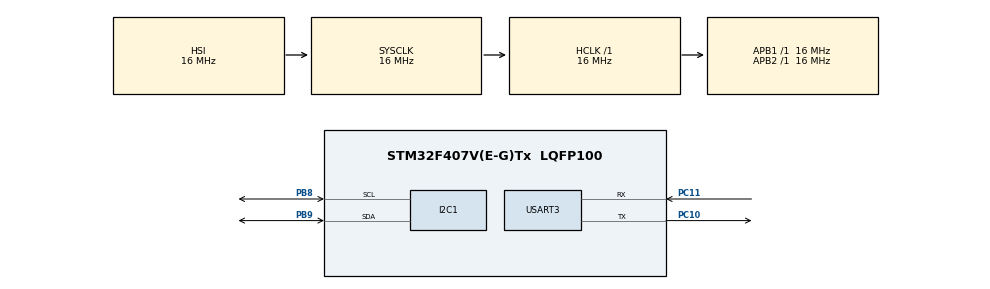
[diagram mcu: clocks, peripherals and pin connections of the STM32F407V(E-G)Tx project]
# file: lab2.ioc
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Mcu.Family=STM32F4
Mcu.Name=STM32F407V(E-G)Tx
Mcu.Package=LQFP100
NVIC.PriorityGroup=NVIC_PRIORITYGROUP_4
PB8.Mode=I2C
PB8.Signal=I2C1_SCL
PB9.Mode=I2C
PB9.Signal=I2C1_SDA
PC10.Mode=Asynchronous
PC10.Signal=USART3_TX
PC11.Mode=Asynchronous
PC11.Signal=USART3_RX
ProjectManager.HeapSize=0x200
ProjectManager.StackSize=0x400
ProjectManager.TargetToolchain=STM32CubeIDE
RCC.AHBFreq_Value=16000000
RCC.APB1Freq_Value=16000000
RCC.APB2Freq_Value=16000000
RCC.CortexFreq_Value=16000000
RCC.HSE_VALUE=25000000
RCC.HSI_VALUE=16000000
RCC.LSE_VALUE=32768
RCC.SYSCLKFreq_VALUE=16000000
RCC.VCOOutputFreq_Value=192000000
USART3.VirtualMode=VM_ASYNC
board=custom

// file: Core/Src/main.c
/* USER CODE BEGIN Header */
/**
  ******************************************************************************
  * @file           : main.c
  * @brief          : Main program body
  ******************************************************************************
  * @attention
  *
  * Copyright (c) 2022 STMicroelectronics.
  * All rights reserved.
  *
  * This software is licensed under terms that can be found in the LICENSE file
  * in the root directory of this software component.
  * If no LICENSE file comes with this software, it is provided AS-IS.
  *
  ******************************************************************************
  */
/* USER CODE END Header */
#include "main.h"
#include "ICM20948.h"

 I2C_HandleTypeDef hi2c1;

UART_HandleTypeDef huart3;

void SystemClock_Config(void);
static void MX_GPIO_Init(void);
static void MX_I2C1_Init(void);
static void MX_USART3_UART_Init(void);

int main(void)
{
  /* USER CODE BEGIN 1 */
	ICM20948 imu;
  /* USER CODE END 1 */

  /* MCU Configuration--------------------------------------------------------*/

  /* Reset of all peripherals, Initializes the Flash interface and the Systick. */
  HAL_Init();

  /* Configure the system clock */
  SystemClock_Config();

  /* Initialize all configured peripherals */
  MX_GPIO_Init();
  MX_I2C1_Init();
  MX_USART3_UART_Init();
  /* USER CODE BEGIN 2 */
  IMU_Initialise(&imu,&hi2c1,&huart3);
  /* USER CODE END 2 */

  /* Infinite loop */
  /* USER CODE BEGIN WHILE */
  float pitchA, rollA, pitchG, rollG, newTime, oldTime, dT, combinedP, combinedR;
  oldTime = pitchG = rollG = pitchA = rollA = combinedP = combinedR = 0.0;
  uint8_t array[2][10] = {0};
  uint8_t rawData[6][10] = {0};
  uint8_t derivedData[4][10] = {0};
  float coefficient = 0.95;
  while (1)
  {
	  IMU_AccelRead(&imu);
	  	  IMU_GyroRead(&imu);
	  	newTime = HAL_GetTick();
	  	sprintf(&rawData[0], "%5.2f ", imu.acc[0]);
	  	sprintf(&rawData[1], "%5.2f ", imu.acc[1]);
	  	sprintf(&rawData[2], "%5.2f ", imu.acc[2]);
	  	sprintf(&rawData[3], "%5.2f ", imu.gyro[0]);
	  	sprintf(&rawData[4], "%5.2f ", imu.gyro[1]);
	  	sprintf(&rawData[5], "%5.2f ", imu.gyro[2]);

	  	  pitchA = atan2(imu.acc[0],imu.acc[2]);
	  	  rollA = atan2(imu.acc[1],imu.acc[2]);

	  	          //finding change in time used for integrating gyroscope value

	  	  dT = newTime-oldTime;
	  	  oldTime = newTime;

	  	          //accelerometer

	  	  pitchA = (pitchA/3.14159265*180)*-1;
	  	  rollA = rollA/3.14159265*180;
	  	  sprintf(&derivedData[0], "%5.2f ", pitchA);
	  	  sprintf(&derivedData[1], "%5.2f ", rollA);

	  	  combinedP = (1-coefficient)*(pitchA) + (coefficient)*(combinedP + imu.gyro[1]*dT*0.001);
	  	  combinedR = (1-coefficient)*(rollA) + (coefficient)*(combinedR + imu.gyro[0]*dT*0.001);
	  	  sprintf(&array[0], "%5.2f ", combinedP);
	  	  sprintf(&array[1], "%5.2f ", combinedR);

	  	          //gyroscope
	  	  pitchG = pitchG + imu.gyro[1]*dT*0.001;
	  	  rollG = rollG + imu.gyro[0]*dT*0.001;
	  	  sprintf(&derivedData[2], "%5.2f ", pitchG);
	  	  sprintf(&derivedData[3], "%5.2f ", rollG);

	  	//Remove comment to show raw data
	  	/*HAL_UART_Transmit(&huart3,rawData[0],6,HAL_MAX_DELAY);
	  	HAL_UART_Transmit(&huart3, " ,", 2, HAL_MAX_DELAY);
	  	HAL_UART_Transmit(&huart3,rawData[1],6,HAL_MAX_DELAY);
	  	HAL_UART_Transmit(&huart3, " ,", 2, HAL_MAX_DELAY);
	  	HAL_UART_Transmit(&huart3,rawData[2],6,HAL_MAX_DELAY);
	  	HAL_UART_Transmit(&huart3, " ,", 2, HAL_MAX_DELAY);
	  	HAL_UART_Transmit(&huart3,rawData[3],6,HAL_MAX_DELAY);
	  	HAL_UART_Transmit(&huart3, " ,", 2, HAL_MAX_DELAY);
	  	HAL_UART_Transmit(&huart3,rawData[4],6,HAL_MAX_DELAY);
	  	HAL_UART_Transmit(&huart3, " ,", 2, HAL_MAX_DELAY);
	  	HAL_UART_Transmit(&huart3,rawData[5],6,HAL_MAX_DELAY);
	  	HAL_UART_Transmit(&huart3, "\n\r ,", 2, HAL_MAX_DELAY);*/

	  	//Remove comment to show derived data
	  	HAL_UART_Transmit(&huart3,derivedData[0],6,HAL_MAX_DELAY);  //accelerometer pitch
	  	HAL_UART_Transmit(&huart3, " ,", 2, HAL_MAX_DELAY);
	  	HAL_UART_Transmit(&huart3,derivedData[1],6,HAL_MAX_DELAY);  //accelerometer roll
	  	HAL_UART_Transmit(&huart3, " ,", 2, HAL_MAX_DELAY);
	  	HAL_UART_Transmit(&huart3,derivedData[2],6,HAL_MAX_DELAY);  //gyroscope pitch
	  	HAL_UART_Transmit(&huart3, " ,", 2, HAL_MAX_DELAY);
	  	HAL_UART_Transmit(&huart3,derivedData[3],6,HAL_MAX_DELAY);  //gyroscope roll
	  	HAL_UART_Transmit(&huart3, " ,", 2, HAL_MAX_DELAY);

	  	//Remove comment to show complementary filter
		HAL_UART_Transmit(&huart3,array[0],6,HAL_MAX_DELAY);
		HAL_UART_Transmit(&huart3, " ,", 2, HAL_MAX_DELAY);
		HAL_UART_Transmit(&huart3,array[1],6,HAL_MAX_DELAY);
		HAL_UART_Transmit(&huart3, "\n\r ,", 2, HAL_MAX_DELAY);

    /* USER CODE END WHILE */

  }
}

void SystemClock_Config(void)
{
  RCC_OscInitTypeDef RCC_OscInitStruct = {0};
  RCC_ClkInitTypeDef RCC_ClkInitStruct = {0};

  /** Configure the main internal regulator output voltage
  */
  __HAL_RCC_PWR_CLK_ENABLE();
  __HAL_PWR_VOLTAGESCALING_CONFIG(PWR_REGULATOR_VOLTAGE_SCALE1);

  /** Initializes the RCC Oscillators according to the specified parameters
  * in the RCC_OscInitTypeDef structure.
  */
  RCC_OscInitStruct.OscillatorType = RCC_OSCILLATORTYPE_HSI;
  RCC_OscInitStruct.HSIState = RCC_HSI_ON;
  RCC_OscInitStruct.HSICalibrationValue = RCC_HSICALIBRATION_DEFAULT;
  RCC_OscInitStruct.PLL.PLLState = RCC_PLL_NONE;
  if (HAL_RCC_OscConfig(&RCC_OscInitStruct) != HAL_OK)
  {
    Error_Handler();
  }

  /** Initializes the CPU, AHB and APB buses clocks
  */
  RCC_ClkInitStruct.ClockType = RCC_CLOCKTYPE_HCLK|RCC_CLOCKTYPE_SYSCLK
                              |RCC_CLOCKTYPE_PCLK1|RCC_CLOCKTYPE_PCLK2;
  RCC_ClkInitStruct.SYSCLKSource = RCC_SYSCLKSOURCE_HSI;
  RCC_ClkInitStruct.AHBCLKDivider = RCC_SYSCLK_DIV1;
  RCC_ClkInitStruct.APB1CLKDivider = RCC_HCLK_DIV1;
  RCC_ClkInitStruct.APB2CLKDivider = RCC_HCLK_DIV1;

  if (HAL_RCC_ClockConfig(&RCC_ClkInitStruct, FLASH_LATENCY_0) != HAL_OK)
  {
    Error_Handler();
  }
}

static void MX_I2C1_Init(void)
{

  hi2c1.Instance = I2C1;
  hi2c1.Init.ClockSpeed = 100000;
  hi2c1.Init.DutyCycle = I2C_DUTYCYCLE_2;
  hi2c1.Init.OwnAddress1 = 0;
  hi2c1.Init.AddressingMode = I2C_ADDRESSINGMODE_7BIT;
  hi2c1.Init.DualAddressMode = I2C_DUALADDRESS_DISABLE;
  hi2c1.Init.OwnAddress2 = 0;
  hi2c1.Init.GeneralCallMode = I2C_GENERALCALL_DISABLE;
  hi2c1.Init.NoStretchMode = I2C_NOSTRETCH_DISABLE;
  if (HAL_I2C_Init(&hi2c1) != HAL_OK)
  {
    Error_Handler();
  }

}

static void MX_USART3_UART_Init(void)
{

  huart3.Instance = USART3;
  huart3.Init.BaudRate = 115200;
  huart3.Init.WordLength = UART_WORDLENGTH_8B;
  huart3.Init.StopBits = UART_STOPBITS_1;
  huart3.Init.Parity = UART_PARITY_NONE;
  huart3.Init.Mode = UART_MODE_TX_RX;
  huart3.Init.HwFlowCtl = UART_HWCONTROL_NONE;
  huart3.Init.OverSampling = UART_OVERSAMPLING_16;
  if (HAL_UART_Init(&huart3) != HAL_OK)
  {
    Error_Handler();
  }

}

static void MX_GPIO_Init(void)
{

  /* GPIO Ports Clock Enable */
  __HAL_RCC_GPIOC_CLK_ENABLE();
  __HAL_RCC_GPIOB_CLK_ENABLE();

}

void Error_Handler(void)
{
  __disable_irq();
  while (1)
  {
  }
}
